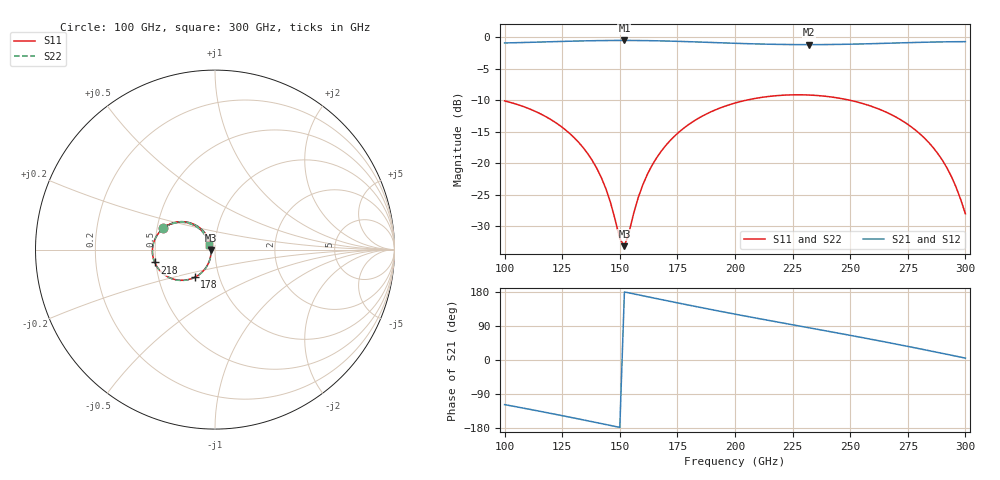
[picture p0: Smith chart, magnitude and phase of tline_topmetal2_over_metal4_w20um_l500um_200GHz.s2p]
#  GHZ S DB R 50
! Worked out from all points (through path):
!   101 points, 100 GHz to 300 GHz, reference 50 ohm
!   highest |S21| = -0.54 dB at 152 GHz (marker M1); lowest = -1.2 dB at 232 GHz (marker M2)
!   group delay of S21, straight-line fit = 3.28 ps
!   lowest |S11| = -33.1 dB at 152 GHz (marker M3), VSWR 1.05, Z = 47.9 - j0.329 ohm
!   |S11| at or under -10 dB: start of sweep to 204.9 GHz; 249.7 GHz to end of sweep
!   |S22| runs from -33.3 to -9.1 dB; largest |S21 - S12| = 1.1e-14
!   S11 on the Smith chart (normalised r, x): 100 GHz: 0.54, +0.14; 178 GHz: 0.76, -0.24; 218 GHz: 0.49, -0.08; 300 GHz: 0.94, +0.05
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100  -10.11 157.5  -0.93 -117.7  -0.93 -117.7  -10.11 157.5
120  -13.05 136.3  -0.74 -140.9  -0.74 -140.9  -13.05 136.3
134  -17.47 123.4  -0.61 -157.9  -0.61 -157.9  -17.47 123.4
142  -22.27 120.8  -0.56 -167.8  -0.56 -167.8  -22.28 120.6
146  -26.25 126.1  -0.55 -172.8  -0.55 -172.8  -26.28 125.8
150  -31.92 154.2  -0.54 -177.9  -0.54 -177.9  -32.04 153.9
152  -33.12 -171.1  -0.54 179.6  -0.54 179.6  -33.28 -170.8
158  -25.43 -119.6  -0.55 172.1  -0.55 172.1  -25.45 -119.1
160  -23.39 -116.8  -0.56 169.5  -0.56 169.5  -23.41 -116.3
168  -18.07 -117.8  -0.61 159.5  -0.61 159.5  -18.07 -117.5
178  -14.36 -126.3  -0.71 147.2  -0.71 147.2  -14.36 -126.0
188  -12.11 -136.4  -0.84 135.1  -0.84 135.1  -12.11 -136.2
200  -10.45 -149.1  -0.99 121.1  -0.99 121.1  -10.45 -148.8
218  -9.28 -168.0  -1.16 100.7  -1.16 100.7  -9.28 -167.7
232  -9.18 177.6  -1.20 85.2  -1.20 85.2  -9.18 177.9
234  -9.22 175.5  -1.20 83.0  -1.20 83.0  -9.22 175.8
252  -10.19 157.0  -1.11 62.8  -1.11 62.8  -10.19 157.3
268  -12.31 140.7  -0.96 44.3  -0.96 44.3  -12.31 141.1
280  -15.25 129.7  -0.84 29.8  -0.84 29.8  -15.24 130.1
288  -18.44 124.5  -0.78 20.0  -0.78 20.0  -18.43 125.1
294  -22.14 125.0  -0.75 12.5  -0.75 12.5  -22.11 125.9
300  -27.99 142.4  -0.73 4.9  -0.73 4.9  -27.86 143.6
